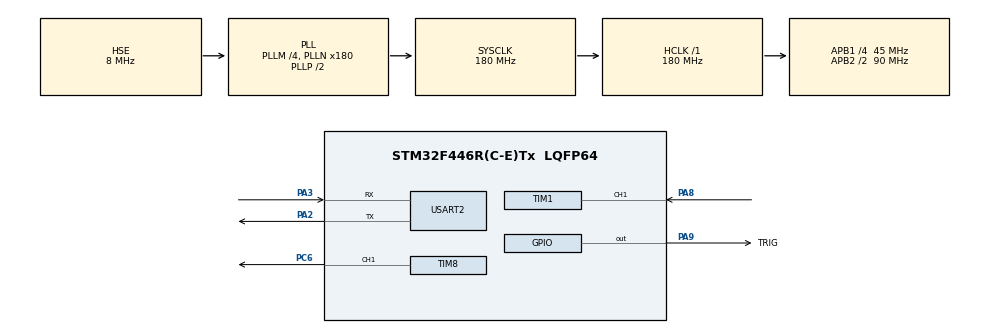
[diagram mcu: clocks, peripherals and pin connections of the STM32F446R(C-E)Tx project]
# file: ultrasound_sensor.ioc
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Mcu.Family=STM32F4
Mcu.Name=STM32F446R(C-E)Tx
Mcu.Package=LQFP64
NVIC.PriorityGroup=NVIC_PRIORITYGROUP_0
NVIC.TIM1_CC_IRQn=true\:0\:0\:false\:false\:true\:true\:true\:true
PA13.Mode=Serial_Wire
PA13.Signal=SYS_JTMS-SWDIO
PA14.Mode=Serial_Wire
PA14.Signal=SYS_JTCK-SWCLK
PA2.Mode=Asynchronous
PA2.Signal=USART2_TX
PA3.Mode=Asynchronous
PA3.Signal=USART2_RX
PA8.Signal=S_TIM1_CH1
PA9.GPIO_Label=TRIG
PA9.Signal=GPIO_Output
PC6.Signal=S_TIM8_CH1
PH0-OSC_IN.Mode=HSE-External-Oscillator
PH0-OSC_IN.Signal=RCC_OSC_IN
PH1-OSC_OUT.Mode=HSE-External-Oscillator
PH1-OSC_OUT.Signal=RCC_OSC_OUT
ProjectManager.HeapSize=0x200
ProjectManager.StackSize=0x400
ProjectManager.TargetToolchain=Makefile
RCC.AHBFreq_Value=180000000
RCC.APB1CLKDivider=RCC_HCLK_DIV4
RCC.APB1Freq_Value=45000000
RCC.APB1TimFreq_Value=90000000
RCC.APB2CLKDivider=RCC_HCLK_DIV2
RCC.APB2Freq_Value=90000000
RCC.APB2TimFreq_Value=180000000
RCC.CortexFreq_Value=180000000
RCC.FLatency-AdvancedSettings=FLASH_LATENCY_5
RCC.HCLKFreq_Value=180000000
RCC.HSE_VALUE=8000000
RCC.HSI_VALUE=16000000
RCC.LSE_VALUE=32768
RCC.PLLM=4
RCC.PLLN=180
RCC.PLLSourceVirtual=RCC_PLLSOURCE_HSE
RCC.SYSCLKFreq_VALUE=180000000
RCC.SYSCLKSource=RCC_SYSCLKSOURCE_PLLCLK
RCC.USBFreq_Value=180000000
RCC.VCOOutputFreq_Value=360000000
SH.S_TIM1_CH1.0=TIM1_CH1,Input_Capture1_from_TI1
SH.S_TIM8_CH1.0=TIM8_CH1,PWM Generation1 CH1
TIM1.Channel-Input_Capture1_from_TI1=TIM_CHANNEL_1
TIM1.Prescaler=180-1
TIM8.Channel-PWM\ Generation1\ CH1=TIM_CHANNEL_1
TIM8.Period=1000-1
TIM8.Prescaler=180-1
USART2.VirtualMode=VM_ASYNC
board=NUCLEO-F446RE

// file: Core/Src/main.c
/* USER CODE BEGIN Header */
/**
  ******************************************************************************
  * @file           : main.c
  * @brief          : Main program body
  ******************************************************************************
  * @attention
  *
  * Copyright (c) 2025 STMicroelectronics.
  * All rights reserved.
  *
  * This software is licensed under terms that can be found in the LICENSE file
  * in the root directory of this software component.
  * If no LICENSE file comes with this software, it is provided AS-IS.
  *
  ******************************************************************************
  */
/* USER CODE END Header */
#include "main.h"
#include "tim.h"
#include "usart.h"
#include "gpio.h"

/* USER CODE BEGIN Includes */
#include <stdio.h>
#include <string.h>
/* USER CODE END Includes */

void SystemClock_Config(void);

/* USER CODE BEGIN 0 */
uint32_t IC_val1 = 0;
uint32_t IC_val2 = 0;
uint32_t diff = 0;
uint8_t is_first_captured = 0;
uint8_t distance = 0;

void HAL_TIM_IC_CaptureCallback(TIM_HandleTypeDef *htim) {
  if (htim->Channel == HAL_TIM_ACTIVE_CHANNEL_1) {
    if (!is_first_captured) {
      IC_val1 = HAL_TIM_ReadCapturedValue(htim, TIM_CHANNEL_1);
      is_first_captured = 1;
      __HAL_TIM_SET_CAPTUREPOLARITY(htim, TIM_CHANNEL_1, TIM_INPUTCHANNELPOLARITY_FALLING);
    } else if (is_first_captured) {
      IC_val2 = HAL_TIM_ReadCapturedValue(htim, TIM_CHANNEL_1);
      __HAL_TIM_SET_COUNTER(htim, 0);

      if (IC_val2 > IC_val1) {
        diff = IC_val2 - IC_val1;
      } else {
        diff = (0xffff - IC_val1) + IC_val2;
      }

      distance = diff *.034/2;
      is_first_captured = 0;
      __HAL_TIM_SET_CAPTUREPOLARITY(htim, TIM_CHANNEL_1, TIM_INPUTCHANNELPOLARITY_RISING);
      __HAL_TIM_DISABLE_IT(htim, TIM_IT_CC1);
    }
  }
}

void HCSR04_read(TIM_HandleTypeDef *htim) {
  HAL_GPIO_WritePin(TRIG_GPIO_Port, TRIG_Pin, GPIO_PIN_SET);
  HAL_Delay(10);
  HAL_GPIO_WritePin(TRIG_GPIO_Port, TRIG_Pin, GPIO_PIN_RESET);
  __HAL_TIM_ENABLE_IT(htim, TIM_IT_CC1);
}

void beep(TIM_HandleTypeDef *htim, uint32_t channel, uint32_t freq, uint32_t duration) {
  uint32_t timer_clock = HAL_RCC_GetPCLK2Freq();
  uint32_t prescaler = htim->Instance->PSC + 1;
  uint32_t period = (timer_clock / prescaler) / freq;

  __HAL_TIM_SET_AUTORELOAD(htim, period - 1);
  __HAL_TIM_SET_COMPARE(htim, channel, period / 2);

  HAL_TIM_PWM_Start(htim, channel);
  HAL_Delay(duration);
  HAL_TIM_PWM_Stop(htim, channel);
}

/* USER CODE END 0 */

int main(void)
{

  /* MCU Configuration--------------------------------------------------------*/

  /* Reset of all peripherals, Initializes the Flash interface and the Systick. */
  HAL_Init();

  /* Configure the system clock */
  SystemClock_Config();

  /* Initialize all configured peripherals */
  MX_GPIO_Init();
  MX_TIM1_Init();
  MX_USART2_UART_Init();
  MX_TIM8_Init();
  /* USER CODE BEGIN 2 */
  HAL_TIM_IC_Start_IT(&htim1, TIM_CHANNEL_1);
  HAL_TIM_PWM_Start(&htim8, TIM_CHANNEL_1);
  /* USER CODE END 2 */

  /* Infinite loop */
  /* USER CODE BEGIN WHILE */
  char msg[32];
  uint32_t now = 0, past = 0, interval = 300;
  static uint32_t last_beep = 0;
  while (1)
  {
    now = uwTick;
    HCSR04_read(&htim1);

    if ((now - past) >= interval) {
      past = now;
      sprintf(msg, "distance: %dcm\r\n", distance);
      HAL_UART_Transmit(&huart2, (uint8_t*)msg, strlen(msg), HAL_MAX_DELAY);
    }

    uint32_t beep_interval = distance * 11 + 100;
    if (beep_interval > 4500) beep_interval = 4500;
    if (beep_interval < 100) beep_interval = 100;

    if ((now - last_beep) >= beep_interval) {
      last_beep = now;
      beep(&htim8, TIM_CHANNEL_1, 1000, 50);
    }
    /* USER CODE END WHILE */

  }
}

void SystemClock_Config(void)
{
  RCC_OscInitTypeDef RCC_OscInitStruct = {0};
  RCC_ClkInitTypeDef RCC_ClkInitStruct = {0};

  /** Configure the main internal regulator output voltage
  */
  __HAL_RCC_PWR_CLK_ENABLE();
  __HAL_PWR_VOLTAGESCALING_CONFIG(PWR_REGULATOR_VOLTAGE_SCALE1);

  /** Initializes the RCC Oscillators according to the specified parameters
  * in the RCC_OscInitTypeDef structure.
  */
  RCC_OscInitStruct.OscillatorType = RCC_OSCILLATORTYPE_HSE;
  RCC_OscInitStruct.HSEState = RCC_HSE_ON;
  RCC_OscInitStruct.PLL.PLLState = RCC_PLL_ON;
  RCC_OscInitStruct.PLL.PLLSource = RCC_PLLSOURCE_HSE;
  RCC_OscInitStruct.PLL.PLLM = 4;
  RCC_OscInitStruct.PLL.PLLN = 180;
  RCC_OscInitStruct.PLL.PLLP = RCC_PLLP_DIV2;
  RCC_OscInitStruct.PLL.PLLQ = 2;
  RCC_OscInitStruct.PLL.PLLR = 2;
  if (HAL_RCC_OscConfig(&RCC_OscInitStruct) != HAL_OK)
  {
    Error_Handler();
  }

  /** Activate the Over-Drive mode
  */
  if (HAL_PWREx_EnableOverDrive() != HAL_OK)
  {
    Error_Handler();
  }

  /** Initializes the CPU, AHB and APB buses clocks
  */
  RCC_ClkInitStruct.ClockType = RCC_CLOCKTYPE_HCLK|RCC_CLOCKTYPE_SYSCLK
                              |RCC_CLOCKTYPE_PCLK1|RCC_CLOCKTYPE_PCLK2;
  RCC_ClkInitStruct.SYSCLKSource = RCC_SYSCLKSOURCE_PLLCLK;
  RCC_ClkInitStruct.AHBCLKDivider = RCC_SYSCLK_DIV1;
  RCC_ClkInitStruct.APB1CLKDivider = RCC_HCLK_DIV4;
  RCC_ClkInitStruct.APB2CLKDivider = RCC_HCLK_DIV2;

  if (HAL_RCC_ClockConfig(&RCC_ClkInitStruct, FLASH_LATENCY_5) != HAL_OK)
  {
    Error_Handler();
  }
}

void Error_Handler(void)
{
  __disable_irq();
  while (1)
  {
  }
}
